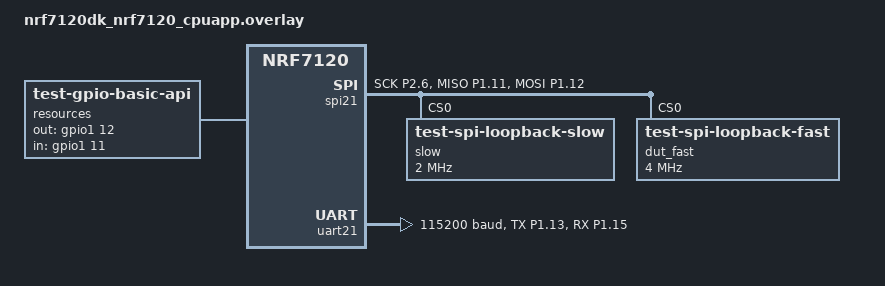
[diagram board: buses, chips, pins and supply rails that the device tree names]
/*
 * Copyright (c) 2026 Nordic Semiconductor ASA
 *
 * SPDX-License-Identifier: Apache-2.0
 */

/*
 * Test requires following loopback:
 * P1.11 - P1.12
 */

&pinctrl {
	spi21_default: spi21_default {
		group1 {
			psels = <NRF_PSEL(SPIM_SCK, 2, 6)>,
				<NRF_PSEL(SPIM_MISO, 1, 11)>,
				<NRF_PSEL(SPIM_MOSI, 1, 12)>;
			low-power-enable;
		};
	};

	spi21_sleep: spi21_sleep {
		group1 {
			psels = <NRF_PSEL(SPIM_SCK, 2, 6)>,
				<NRF_PSEL(SPIM_MISO, 1, 11)>,
				<NRF_PSEL(SPIM_MOSI, 1, 12)>;
			low-power-enable;
		};
	};
};

&spi21 {
	status = "okay";
	pinctrl-0 = <&spi21_default>;
	pinctrl-1 = <&spi21_sleep>;
	pinctrl-names = "default", "sleep";
	overrun-character = <0x00>;
	zephyr,pm-device-runtime-auto;

	slow@0 {
		compatible = "test-spi-loopback-slow";
		reg = <0>;
		spi-max-frequency = <DT_FREQ_M(2)>;
	};

	dut_fast: fast@0 {
		compatible = "test-spi-loopback-fast";
		reg = <0>;
		spi-max-frequency = <DT_FREQ_M(4)>;
	};
};

&gpio2 {
	status = "okay";
};

/ {
	resources {
		compatible = "test-gpio-basic-api";
		out-gpios = <&gpio1 12 0>;
		in-gpios = <&gpio1 11 0>;
	};
};

&gpiote20 {
	status = "okay";
};

&gpio1 {
	status = "okay";
};

&pinctrl {
	uart21_default_alt: uart21_default_alt {
		group1 {
			psels = <NRF_PSEL(UART_TX, 1, 13)>,
				<NRF_PSEL(UART_RX, 1, 15)>;
		};
	};
	uart21_sleep_alt: uart21_sleep_alt {
		group1 {
			psels = <NRF_PSEL(UART_TX, 1, 13)>,
				<NRF_PSEL(UART_RX, 1, 15)>;
			low-power-enable;
		};
	};
};

dut: &uart21 {
	status = "okay";
	pinctrl-0 = <&uart21_default_alt>;
	pinctrl-1 = <&uart21_sleep_alt>;
	pinctrl-names = "default", "sleep";
	current-speed = <115200>;
};
